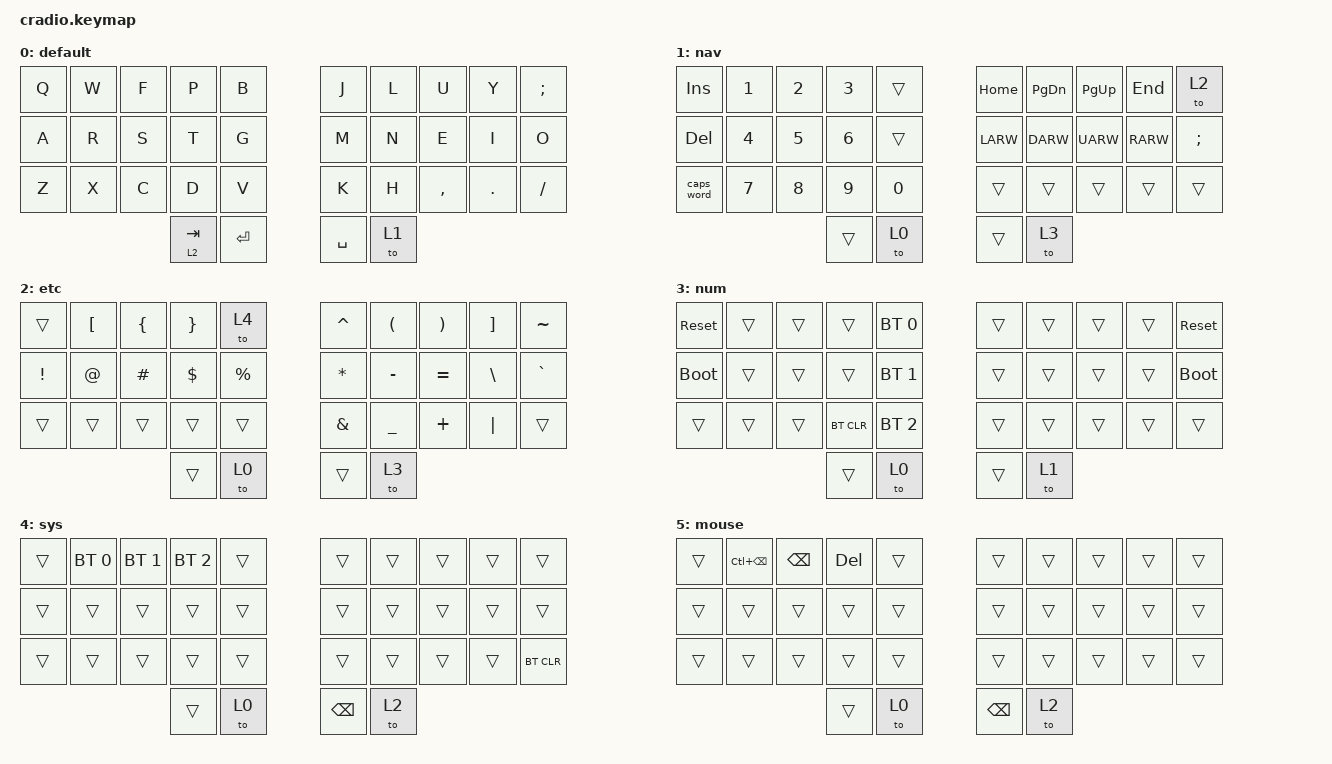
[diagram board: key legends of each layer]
// Copyright (c) 2022 The ZMK Contributors
// SPDX-License-Identifier: MIT

#include <behaviors.dtsi>
#include <dt-bindings/zmk/bt.h>
#include <dt-bindings/zmk/keys.h>

// Home row mods macro
//#define HRML(k1,k2,k3,k4) &ht LSHFT k1  &ht LALT k2  &ht LCTRL k3  &ht LGUI k4
//#define HRMR(k1,k2,k3,k4) &ht RGUI k1  &ht RCTRL k2  &ht RALT k3  &ht RSHFT k4

/ {
    behaviors {
        ht: hold_tap {
            label = "hold_tap";
            compatible = "zmk,behavior-hold-tap";
            #binding-cells = <2>;
            flavor = "tap-preferred";
            tapping-term-ms = <220>;
            quick-tap-ms = <150>;
            require-prior-idle-ms = <100>;
            bindings = <&kp>, <&kp>;
        };
    };

    conditional_layers {
        compatible = "zmk,conditional-layers";

        tri_layer {
            if-layers = <1 2>;
            then-layer = <3>;
        };
    };

    keymap {
        compatible = "zmk,keymap";

        default_layer {
            bindings = <
&kp Q  &kp W  &kp F  &kp P      &kp B        &kp J      &kp L  &kp U      &kp Y    &kp SEMI
&kp A  &kp R  &kp S  &kp T      &kp G        &kp M      &kp N  &kp E      &kp I    &kp O
&kp Z  &kp X  &kp C  &kp D      &kp V        &kp K      &kp H  &kp COMMA  &kp DOT  &kp FSLH
                     &lt 2 TAB  &kp ENTER    &kp SPACE  &to 1
            >;

            label = "default";
        };

        nav_layer {
            bindings = <
&kp INS     &kp N1  &kp N2  &kp N3  &trans    &kp HOME  &kp PG_DN  &kp PG_UP  &kp END   &to 2
&kp DEL     &kp N4  &kp N5  &kp N6  &trans    &kp LARW  &kp DARW   &kp UARW   &kp RARW  &kp SEMI
&caps_word  &kp N7  &kp N8  &kp N9  &kp N0    &trans    &trans     &trans     &trans    &trans
                            &trans  &to 0     &trans    &to 3
            >;

            label = "nav";
        };

        etc_layer {
            bindings = <
&trans    &kp LBKT  &kp LBRC  &kp RBRC  &to 4        &kp CARET  &kp LPAR   &kp RPAR   &kp RBKT  &kp TILDE
&kp EXCL  &kp AT    &kp HASH  &kp DLLR  &kp PRCNT    &kp ASTRK  &kp MINUS  &kp EQUAL  &kp BSLH  &kp GRAVE
&trans    &trans    &trans    &trans    &trans       &kp AMPS   &kp UNDER  &kp PLUS   &kp PIPE  &trans
                              &trans    &to 0        &trans     &to 3
            >;

            label = "etc";
        };

        num_layer {
            bindings = <
&sys_reset   &trans  &trans  &trans      &bt BT_SEL 0    &trans  &trans  &trans  &trans  &sys_reset
&bootloader  &trans  &trans  &trans      &bt BT_SEL 1    &trans  &trans  &trans  &trans  &bootloader
&trans       &trans  &trans  &bt BT_CLR  &bt BT_SEL 2    &trans  &trans  &trans  &trans  &trans
                             &trans      &to 0           &trans  &to 1
            >;

            label = "num";
        };

        sys_layer {
            bindings = <
&trans  &bt BT_SEL 0  &bt BT_SEL 1  &bt BT_SEL 2  &trans    &trans         &trans  &trans  &trans  &trans
&trans  &trans        &trans        &trans        &trans    &trans         &trans  &trans  &trans  &trans
&trans  &trans        &trans        &trans        &trans    &trans         &trans  &trans  &trans  &bt BT_CLR
                                    &trans        &to 0     &kp BACKSPACE  &to 2
            >;

            label = "sys";
        };

        mouse_layer {
            bindings = <
&trans  &kp LC(BACKSPACE)  &kp BACKSPACE  &kp DEL  &trans    &trans         &trans  &trans  &trans  &trans
&trans  &trans             &trans         &trans   &trans    &trans         &trans  &trans  &trans  &trans
&trans  &trans             &trans         &trans   &trans    &trans         &trans  &trans  &trans  &trans
                                          &trans   &to 0     &kp BACKSPACE  &to 2
            >;

            label = "mouse";
        };
    };
};
